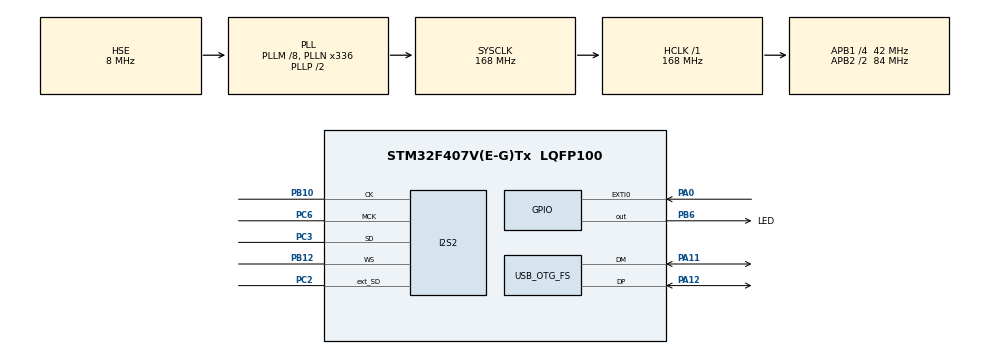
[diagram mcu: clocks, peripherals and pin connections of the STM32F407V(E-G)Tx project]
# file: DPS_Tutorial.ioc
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Dma.I2S2_EXT_RX.1.Direction=DMA_PERIPH_TO_MEMORY
Dma.I2S2_EXT_RX.1.FIFOMode=DMA_FIFOMODE_DISABLE
Dma.I2S2_EXT_RX.1.Instance=DMA1_Stream3
Dma.I2S2_EXT_RX.1.MemDataAlignment=DMA_MDATAALIGN_HALFWORD
Dma.I2S2_EXT_RX.1.MemInc=DMA_MINC_ENABLE
Dma.I2S2_EXT_RX.1.Mode=DMA_CIRCULAR
Dma.I2S2_EXT_RX.1.PeriphDataAlignment=DMA_PDATAALIGN_HALFWORD
Dma.I2S2_EXT_RX.1.PeriphInc=DMA_PINC_DISABLE
Dma.I2S2_EXT_RX.1.Priority=DMA_PRIORITY_VERY_HIGH
Dma.Request0=SPI2_TX
Dma.Request1=I2S2_EXT_RX
Dma.SPI2_TX.0.Direction=DMA_MEMORY_TO_PERIPH
Dma.SPI2_TX.0.FIFOMode=DMA_FIFOMODE_DISABLE
Dma.SPI2_TX.0.Instance=DMA1_Stream4
Dma.SPI2_TX.0.MemDataAlignment=DMA_MDATAALIGN_HALFWORD
Dma.SPI2_TX.0.MemInc=DMA_MINC_ENABLE
Dma.SPI2_TX.0.Mode=DMA_CIRCULAR
Dma.SPI2_TX.0.PeriphDataAlignment=DMA_PDATAALIGN_HALFWORD
Dma.SPI2_TX.0.PeriphInc=DMA_PINC_DISABLE
Dma.SPI2_TX.0.Priority=DMA_PRIORITY_VERY_HIGH
I2S2.AudioFreq=I2S_AUDIOFREQ_48K
I2S2.DataFormat=I2S_DATAFORMAT_16B
I2S2.ErrorAudioFreq=0.24 %
I2S2.FullDuplexMode=I2S_FULLDUPLEXMODE_ENABLE
I2S2.Instance=SPI$Index
I2S2.RealAudioFreq=48.117 KHz
I2S2.VirtualMode=I2S_MODE_MASTER
Mcu.Family=STM32F4
Mcu.Name=STM32F407V(E-G)Tx
Mcu.Package=LQFP100
NVIC.DMA1_Stream3_IRQn=true\:0\:0\:false\:false\:true\:false\:true\:true
NVIC.DMA1_Stream4_IRQn=true\:0\:0\:false\:false\:true\:false\:true\:true
NVIC.OTG_FS_IRQn=true\:0\:0\:false\:false\:true\:false\:true\:true
NVIC.PriorityGroup=NVIC_PRIORITYGROUP_4
PA0-WKUP.Signal=GPXTI0
PA11.Mode=Device_Only
PA11.Signal=USB_OTG_FS_DM
PA12.Mode=Device_Only
PA12.Signal=USB_OTG_FS_DP
PA13.Mode=Serial_Wire
PA13.Signal=SYS_JTMS-SWDIO
PA14.Mode=Serial_Wire
PA14.Signal=SYS_JTCK-SWCLK
PB10.Mode=Full_Duplex_Master
PB10.Signal=I2S2_CK
PB12.Mode=Full_Duplex_Master
PB12.Signal=I2S2_WS
PB6.GPIO_Label=LED
PB6.Signal=GPIO_Output
PC14-OSC32_IN.Mode=LSE-External-Oscillator
PC14-OSC32_IN.Signal=RCC_OSC32_IN
PC15-OSC32_OUT.Mode=LSE-External-Oscillator
PC15-OSC32_OUT.Signal=RCC_OSC32_OUT
PC2.Mode=Full_Duplex_Master
PC2.Signal=I2S2_ext_SD
PC3.Mode=Full_Duplex_Master
PC3.Signal=I2S2_SD
PC6.Mode=Master_Clock_Activated
PC6.Signal=I2S2_MCK
PH0-OSC_IN.Mode=HSE-External-Oscillator
PH0-OSC_IN.Signal=RCC_OSC_IN
PH1-OSC_OUT.Mode=HSE-External-Oscillator
PH1-OSC_OUT.Signal=RCC_OSC_OUT
ProjectManager.HeapSize=0x200
ProjectManager.StackSize=0x400
ProjectManager.TargetToolchain=STM32CubeIDE
RCC.48MHZClocksFreq_Value=48000000
RCC.AHBFreq_Value=168000000
RCC.APB1CLKDivider=RCC_HCLK_DIV4
RCC.APB1Freq_Value=42000000
RCC.APB1TimFreq_Value=84000000
RCC.APB2CLKDivider=RCC_HCLK_DIV2
RCC.APB2Freq_Value=84000000
RCC.APB2TimCLKDivider=2
RCC.APB2TimFreq_Value=168000000
RCC.CortexFreq_Value=168000000
RCC.HCLKFreq_Value=168000000
RCC.HSE_VALUE=8000000
RCC.HSI_VALUE=16000000
RCC.PLLI2SN=271
RCC.PLLM=8
RCC.PLLN=336
RCC.PLLQ=7
RCC.SYSCLKFreq_VALUE=168000000
RCC.SYSCLKSource=RCC_SYSCLKSOURCE_PLLCLK
RCC.VCOOutputFreq_Value=336000000
USB_DEVICE.CLASS_NAME_FS=CDC
USB_DEVICE.VirtualMode-CDC_FS=Cdc
USB_DEVICE.VirtualModeFS=Cdc_FS
USB_OTG_FS.VirtualMode=Device_Only
VP_USB_DEVICE_VS_USB_DEVICE_CDC_FS.Mode=CDC_FS
board=custom

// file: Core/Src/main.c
/* USER CODE BEGIN Header */
/**
  ******************************************************************************
  * @file           : main.c
  * @brief          : Main program body
  ******************************************************************************
  * @attention
  *
  * Copyright (c) 2025 STMicroelectronics.
  * All rights reserved.
  *
  * This software is licensed under terms that can be found in the LICENSE file
  * in the root directory of this software component.
  * If no LICENSE file comes with this software, it is provided AS-IS.
  *
  ******************************************************************************
  */
/* USER CODE END Header */
#include "main.h"
#include "usb_device.h"

/* USER CODE BEGIN PD */
#define SAMPLING_FREQUENCY_HZ 47991.0f

#define UINT16_TO_FLOAT 0.00001525878f
#define INT16_TO_FLOAT 	0.00003051757f
#define FLOAT_TO_INT16 	32768.0f

#define BUFFER_SIZE 	128

#define LED_Pin        GPIO_PIN_6
#define LED_GPIO_Port  GPIOB
/* USER CODE END PD */

I2S_HandleTypeDef hi2s2;
DMA_HandleTypeDef hdma_spi2_tx;
DMA_HandleTypeDef hdma_i2s2_ext_rx;

/* USER CODE BEGIN PV */

int16_t adcBuff[BUFFER_SIZE];
int16_t dacBuff[BUFFER_SIZE];

static volatile int16_t *inBufferPtr = &adcBuff[0];
static volatile int16_t *outBufferPtr = &dacBuff[0];

uint8_t dataReadyFlag;

uint8_t playAudio = 1;
uint32_t lastDebounceTime = 0;
const uint32_t debounceDelay = 250;  // 50 ms

/* USER CODE END PV */

void SystemClock_Config(void);
static void MX_GPIO_Init(void);
static void MX_DMA_Init(void);
static void MX_I2S2_Init(void);

/* USER CODE BEGIN 0 */
void HAL_I2SEx_TxRxHalfCpltCallback(I2S_HandleTypeDef *hi2s) {
    inBufferPtr  = &(adcBuff[0]);
    outBufferPtr = &(dacBuff[0]);

    processData();
}

void HAL_I2SEx_TxRxCpltCallback(I2S_HandleTypeDef *hi2s) {
    inBufferPtr  = &(adcBuff[BUFFER_SIZE / 2]);
    outBufferPtr = &(dacBuff[BUFFER_SIZE / 2]);

    processData();
}

/**
 * @brief Main audio processing function
 */
void processData() {

	// Input samples
	static float leftIn		= 0.0f;
	static float rightIn	= 0.0f;

	// Output samples
	static float leftOut	= 0.0f;
	static float rightOut	= 0.0f;

	for (uint16_t n = 0; n < BUFFER_SIZE/2; n += 2) {

		leftIn  = INT16_TO_FLOAT * inBufferPtr[n];
		rightIn = INT16_TO_FLOAT * inBufferPtr[n+1];

		if (playAudio)
		{
			leftOut  = leftIn;
			rightOut = rightIn;
		}

		outBufferPtr[n]   = (int16_t)(FLOAT_TO_INT16 * leftOut);
		outBufferPtr[n+1] = (int16_t)(FLOAT_TO_INT16 * rightOut);

		//outBufferPtr[n] = inBufferPtr[n];
		//outBufferPtr[n+1] = inBufferPtr[n+1];
	}

	dataReadyFlag = 0;
}

void Process_HalfBuffer() {

	// Input samples
	static float leftIn		= 0.0f;
	static float rightIn	= 0.0f;

	// Output samples
	static float leftOut	= 0.0f;
	static float rightOut	= 0.0f;

	// Loop through half of audio buffer (double buffering), convert int->float, apply processing, convert float->int, set output buffers
	for (uint16_t sampleIndex = 0; sampleIndex < (BUFFER_SIZE/2) - 1; sampleIndex += 2) {

		/*
		 * Convert current input samples (24-bits) to floats (two I2S data lines, two channels per data line)
		 */

		// Extract 24-bits via bit mask
		inBufferPtr[sampleIndex]		&= 0xFFFFFF;
		inBufferPtr[sampleIndex + 1]	&= 0xFFFFFF;

		// Check if number is negative (sign bit)
		if (inBufferPtr[sampleIndex] & 0x800000) {
			inBufferPtr[sampleIndex] |= ~0xFFFFFF;
		}

		if (inBufferPtr[sampleIndex + 1] & 0x800000) {
			inBufferPtr[sampleIndex + 1] |= ~0xFFFFFF;
		}

		// Normalise to float (-1.0, +1.0)
		leftIn  = (float) inBufferPtr[sampleIndex]     / (float) (0x7FFFFF);
		rightIn = (float) inBufferPtr[sampleIndex + 1] / (float) (0x7FFFFF);

		/*
		 * Apply processing
		 */
		leftOut  = leftIn;
		rightOut = rightIn;

		/*
		 * Convert floats to 32-bit output samples
		 */

		// Ensure output samples are within [-1.0,+1.0] range
		if (leftOut < -1.0f) {
			leftOut = -1.0f;
		} else if (leftOut > 1.0f) {
			leftOut =  1.0f;
		}

		if (rightOut < -1.0f) {
			rightOut = -1.0f;
		} else if (rightOut > 1.0f) {
			rightOut =  1.0f;
		}

		// Scale to 24-bit signed integer and set output buffer
		outBufferPtr[sampleIndex]	   = (int32_t) (leftOut  * 0x7FFFFF);
		outBufferPtr[sampleIndex + 1] = (int32_t) (rightOut * 0x7FFFFF);
	}

}

/* USER CODE END 0 */

int main(void)
{

  /* MCU Configuration--------------------------------------------------------*/

  /* Reset of all peripherals, Initializes the Flash interface and the Systick. */
  HAL_Init();

  /* Configure the system clock */
  SystemClock_Config();

  /* Initialize all configured peripherals */
  MX_GPIO_Init();
  MX_DMA_Init();
  MX_USB_DEVICE_Init();
  MX_I2S2_Init();
  /* USER CODE BEGIN 2 */

  //HAL_I2S_Transmit_DMA(&hi2s2, (uint16_t *) buffer_audio, 2 * NUM_SAMPLES);

  HAL_I2SEx_TransmitReceive_DMA (&hi2s2, (uint16_t *) dacBuff, (uint16_t *) adcBuff, BUFFER_SIZE);

//  if (halStatus == HAL_OK)
//  {
//      HAL_GPIO_WritePin(GPIOB, GPIO_PIN_6, GPIO_PIN_SET);  // vžgi LED
//  }
//  else
//  {
//      HAL_GPIO_WritePin(GPIOB, GPIO_PIN_6, GPIO_PIN_RESET); // ostane ugasnjena
//  }

  uint8_t playbackActive = 1;

  /* USER CODE END 2 */

  /* Infinite loop */
  while (1)
  {

	  if (HAL_GPIO_ReadPin(GPIOA, GPIO_PIN_0) == GPIO_PIN_SET && (HAL_GetTick() - lastDebounceTime) > debounceDelay) {
		  playAudio = !playAudio;
		  lastDebounceTime = HAL_GetTick();
	  }

  }
}

void SystemClock_Config(void)
{
  RCC_OscInitTypeDef RCC_OscInitStruct = {0};
  RCC_ClkInitTypeDef RCC_ClkInitStruct = {0};

  /** Configure the main internal regulator output voltage
  */
  __HAL_RCC_PWR_CLK_ENABLE();
  __HAL_PWR_VOLTAGESCALING_CONFIG(PWR_REGULATOR_VOLTAGE_SCALE1);

  /** Initializes the RCC Oscillators according to the specified parameters
  * in the RCC_OscInitTypeDef structure.
  */
  RCC_OscInitStruct.OscillatorType = RCC_OSCILLATORTYPE_HSE;
  RCC_OscInitStruct.HSEState = RCC_HSE_ON;
  RCC_OscInitStruct.PLL.PLLState = RCC_PLL_ON;
  RCC_OscInitStruct.PLL.PLLSource = RCC_PLLSOURCE_HSE;
  RCC_OscInitStruct.PLL.PLLM = 8;
  RCC_OscInitStruct.PLL.PLLN = 336;
  RCC_OscInitStruct.PLL.PLLP = RCC_PLLP_DIV2;
  RCC_OscInitStruct.PLL.PLLQ = 7;
  if (HAL_RCC_OscConfig(&RCC_OscInitStruct) != HAL_OK)
  {
    Error_Handler();
  }

  /** Initializes the CPU, AHB and APB buses clocks
  */
  RCC_ClkInitStruct.ClockType = RCC_CLOCKTYPE_HCLK|RCC_CLOCKTYPE_SYSCLK
                              |RCC_CLOCKTYPE_PCLK1|RCC_CLOCKTYPE_PCLK2;
  RCC_ClkInitStruct.SYSCLKSource = RCC_SYSCLKSOURCE_PLLCLK;
  RCC_ClkInitStruct.AHBCLKDivider = RCC_SYSCLK_DIV1;
  RCC_ClkInitStruct.APB1CLKDivider = RCC_HCLK_DIV4;
  RCC_ClkInitStruct.APB2CLKDivider = RCC_HCLK_DIV2;

  if (HAL_RCC_ClockConfig(&RCC_ClkInitStruct, FLASH_LATENCY_5) != HAL_OK)
  {
    Error_Handler();
  }
}

static void MX_I2S2_Init(void)
{

  hi2s2.Instance = SPI2;
  hi2s2.Init.Mode = I2S_MODE_MASTER_TX;
  hi2s2.Init.Standard = I2S_STANDARD_PHILIPS;
  hi2s2.Init.DataFormat = I2S_DATAFORMAT_16B;
  hi2s2.Init.MCLKOutput = I2S_MCLKOUTPUT_ENABLE;
  hi2s2.Init.AudioFreq = I2S_AUDIOFREQ_48K;
  hi2s2.Init.CPOL = I2S_CPOL_LOW;
  hi2s2.Init.ClockSource = I2S_CLOCK_PLL;
  hi2s2.Init.FullDuplexMode = I2S_FULLDUPLEXMODE_ENABLE;
  if (HAL_I2S_Init(&hi2s2) != HAL_OK)
  {
    Error_Handler();
  }

}

static void MX_DMA_Init(void)
{

  /* DMA controller clock enable */
  __HAL_RCC_DMA1_CLK_ENABLE();

  /* DMA interrupt init */
  /* DMA1_Stream3_IRQn interrupt configuration */
  HAL_NVIC_SetPriority(DMA1_Stream3_IRQn, 0, 0);
  HAL_NVIC_EnableIRQ(DMA1_Stream3_IRQn);
  /* DMA1_Stream4_IRQn interrupt configuration */
  HAL_NVIC_SetPriority(DMA1_Stream4_IRQn, 0, 0);
  HAL_NVIC_EnableIRQ(DMA1_Stream4_IRQn);

}

static void MX_GPIO_Init(void)
{
  GPIO_InitTypeDef GPIO_InitStruct = {0};

  /* GPIO Ports Clock Enable */
  __HAL_RCC_GPIOC_CLK_ENABLE();
  __HAL_RCC_GPIOH_CLK_ENABLE();
  __HAL_RCC_GPIOA_CLK_ENABLE();
  __HAL_RCC_GPIOB_CLK_ENABLE();

  /*Configure GPIO pin Output Level */
  HAL_GPIO_WritePin(LED_GPIO_Port, LED_Pin, GPIO_PIN_RESET);

  /*Configure GPIO pin : PA0 */
  GPIO_InitStruct.Pin = GPIO_PIN_0;
  GPIO_InitStruct.Mode = GPIO_MODE_IT_RISING;
  GPIO_InitStruct.Pull = GPIO_NOPULL;
  HAL_GPIO_Init(GPIOA, &GPIO_InitStruct);

  /*Configure GPIO pin : LED_Pin */
  GPIO_InitStruct.Pin = LED_Pin;
  GPIO_InitStruct.Mode = GPIO_MODE_OUTPUT_PP;
  GPIO_InitStruct.Pull = GPIO_NOPULL;
  GPIO_InitStruct.Speed = GPIO_SPEED_FREQ_LOW;
  HAL_GPIO_Init(LED_GPIO_Port, &GPIO_InitStruct);

}

void Error_Handler(void)
{
  __disable_irq();
  while (1)
  {
  }
}
